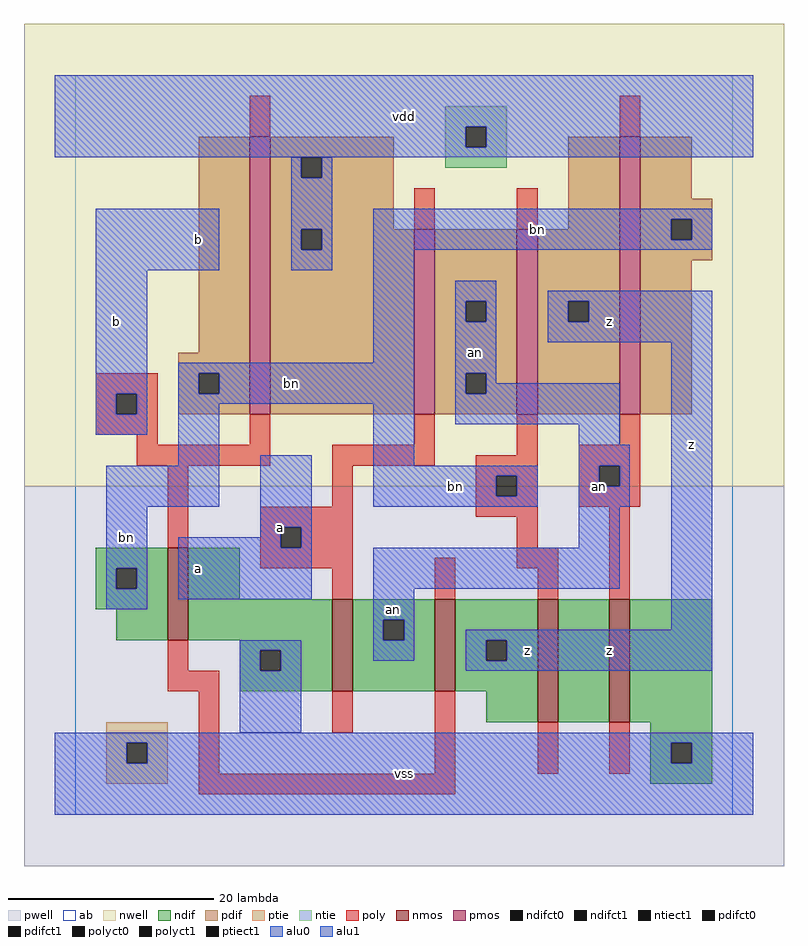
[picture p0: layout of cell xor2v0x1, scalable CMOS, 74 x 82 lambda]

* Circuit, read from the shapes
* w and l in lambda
.subckt xor2v0x1 a an b bn vdd vss z
M1 vss b bn vss nfet w=9 l=2
M2 an a vss vss nfet w=9 l=2
M3 z b an vss nfet w=9 l=2
M4 n1 bn z vss nfet w=12 l=2
M5 vss an n1 vss nfet w=12 l=2
M6 vdd b bn vdd pfet w=27 l=2
M7 an a vdd vdd pfet w=18 l=2
M8 z bn an vdd pfet w=18 l=2
M9 bn an z vdd pfet w=27 l=2
.ends

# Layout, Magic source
magic
tech scmos
<< ab >>
rect 0 0 64 72
<< nwell >>
rect -5 32 69 77
<< pwell >>
rect -5 -5 69 32
<< poly >>
rect 17 66 19 70
rect 2 41 8 43
rect 2 39 4 41
rect 6 39 8 41
rect 53 66 55 70
rect 33 57 35 61
rect 43 57 45 61
rect 2 37 8 39
rect 6 36 8 37
rect 17 36 19 39
rect 33 36 35 39
rect 6 34 19 36
rect 25 34 35 36
rect 43 35 45 39
rect 53 36 55 39
rect 9 26 11 34
rect 25 30 27 34
rect 18 28 27 30
rect 39 33 45 35
rect 39 31 41 33
rect 43 31 45 33
rect 39 29 45 31
rect 49 34 55 36
rect 49 32 51 34
rect 53 32 55 34
rect 49 30 55 32
rect 18 26 20 28
rect 22 26 27 28
rect 18 24 27 26
rect 43 26 45 29
rect 25 21 27 24
rect 35 21 37 25
rect 43 24 47 26
rect 45 21 47 24
rect 52 21 54 30
rect 9 14 11 17
rect 9 12 14 14
rect 12 4 14 12
rect 25 8 27 12
rect 35 4 37 12
rect 45 4 47 9
rect 52 4 54 9
rect 12 2 37 4
<< ndif >>
rect 2 24 9 26
rect 2 22 4 24
rect 6 22 9 24
rect 2 20 9 22
rect 4 17 9 20
rect 11 21 16 26
rect 11 17 25 21
rect 16 16 25 17
rect 16 14 18 16
rect 20 14 25 16
rect 16 12 25 14
rect 27 19 35 21
rect 27 17 30 19
rect 32 17 35 19
rect 27 12 35 17
rect 37 17 45 21
rect 37 15 40 17
rect 42 15 45 17
rect 37 12 45 15
rect 40 9 45 12
rect 47 9 52 21
rect 54 9 62 21
rect 56 7 62 9
rect 56 5 58 7
rect 60 5 62 7
rect 56 3 62 5
<< pdif >>
rect 12 45 17 66
rect 10 43 17 45
rect 10 41 12 43
rect 14 41 17 43
rect 10 39 17 41
rect 19 64 31 66
rect 19 62 22 64
rect 24 62 31 64
rect 19 57 31 62
rect 48 57 53 66
rect 19 55 22 57
rect 24 55 33 57
rect 19 39 33 55
rect 35 50 43 57
rect 35 48 38 50
rect 40 48 43 50
rect 35 43 43 48
rect 35 41 38 43
rect 40 41 43 43
rect 35 39 43 41
rect 45 50 53 57
rect 45 48 48 50
rect 50 48 53 50
rect 45 39 53 48
rect 55 60 60 66
rect 55 58 62 60
rect 55 56 58 58
rect 60 56 62 58
rect 55 54 62 56
rect 55 39 60 54
<< alu1 >>
rect -2 67 66 72
rect -2 65 38 67
rect 40 65 66 67
rect -2 64 66 65
rect 2 53 14 59
rect 2 41 7 53
rect 2 39 4 41
rect 6 39 7 41
rect 2 37 7 39
rect 18 28 23 35
rect 46 50 62 51
rect 46 48 48 50
rect 50 48 62 50
rect 46 46 62 48
rect 18 27 20 28
rect 10 26 20 27
rect 22 26 23 28
rect 10 21 23 26
rect 58 18 62 46
rect 38 17 62 18
rect 38 15 40 17
rect 42 15 62 17
rect 38 14 62 15
rect -2 7 66 8
rect -2 5 5 7
rect 7 5 58 7
rect 60 5 66 7
rect -2 0 66 5
<< ptie >>
rect 3 7 9 9
rect 3 5 5 7
rect 7 5 9 7
rect 3 3 9 5
<< ntie >>
rect 36 67 42 69
rect 36 65 38 67
rect 40 65 42 67
rect 36 63 42 65
<< nmos >>
rect 9 17 11 26
rect 25 12 27 21
rect 35 12 37 21
rect 45 9 47 21
rect 52 9 54 21
<< pmos >>
rect 17 39 19 66
rect 33 39 35 57
rect 43 39 45 57
rect 53 39 55 66
<< polyct0 >>
rect 41 31 43 33
rect 51 32 53 34
<< polyct1 >>
rect 4 39 6 41
rect 20 26 22 28
<< ndifct0 >>
rect 4 22 6 24
rect 18 14 20 16
rect 30 17 32 19
<< ndifct1 >>
rect 40 15 42 17
rect 58 5 60 7
<< ntiect1 >>
rect 38 65 40 67
<< ptiect1 >>
rect 5 5 7 7
<< pdifct0 >>
rect 12 41 14 43
rect 22 62 24 64
rect 22 55 24 57
rect 38 48 40 50
rect 38 41 40 43
rect 58 56 60 58
<< pdifct1 >>
rect 48 48 50 50
<< alu0 >>
rect 21 62 22 64
rect 24 62 25 64
rect 21 57 25 62
rect 21 55 22 57
rect 24 55 25 57
rect 21 53 25 55
rect 29 58 62 59
rect 29 56 58 58
rect 60 56 62 58
rect 29 55 62 56
rect 29 44 33 55
rect 10 43 33 44
rect 10 41 12 43
rect 14 41 33 43
rect 10 40 33 41
rect 10 34 14 40
rect 3 30 14 34
rect 3 24 7 30
rect 29 34 33 40
rect 37 50 41 52
rect 37 48 38 50
rect 40 48 41 50
rect 37 43 41 48
rect 37 41 38 43
rect 40 42 41 43
rect 40 41 53 42
rect 37 38 53 41
rect 49 36 53 38
rect 49 34 54 36
rect 29 33 45 34
rect 29 31 41 33
rect 43 31 45 33
rect 29 30 45 31
rect 49 32 51 34
rect 53 32 54 34
rect 49 30 54 32
rect 3 22 4 24
rect 6 22 7 24
rect 3 20 7 22
rect 49 26 53 30
rect 29 22 53 26
rect 29 19 33 22
rect 29 17 30 19
rect 32 17 33 19
rect 16 16 22 17
rect 16 14 18 16
rect 20 14 22 16
rect 29 15 33 17
rect 16 8 22 14
<< labels >>
rlabel alu0 5 27 5 27 6 bn
rlabel alu0 31 20 31 20 6 an
rlabel alu0 37 32 37 32 6 bn
rlabel alu0 39 45 39 45 6 an
rlabel alu0 21 42 21 42 6 bn
rlabel alu0 51 32 51 32 6 an
rlabel alu0 45 57 45 57 6 bn
rlabel alu1 12 24 12 24 6 a
rlabel alu1 4 48 4 48 6 b
rlabel alu1 12 56 12 56 6 b
rlabel alu1 20 28 20 28 6 a
rlabel alu1 32 4 32 4 6 vss
rlabel alu1 44 16 44 16 6 z
rlabel alu1 32 68 32 68 6 vdd
rlabel alu1 52 16 52 16 6 z
rlabel alu1 60 36 60 36 6 z
rlabel alu1 52 48 52 48 6 z
<< end >>
